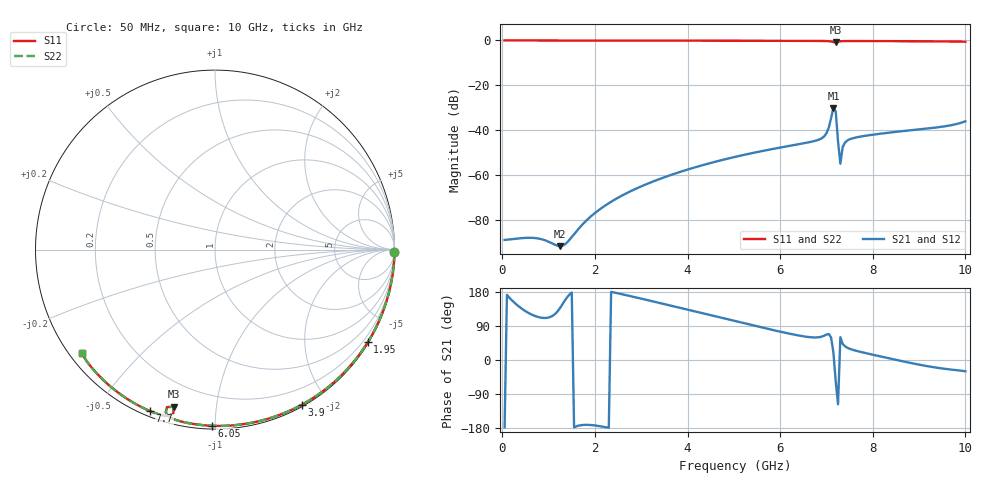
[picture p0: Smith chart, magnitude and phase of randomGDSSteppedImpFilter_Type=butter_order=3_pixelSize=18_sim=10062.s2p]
! freq	dB(S11)	phase(S11)	dB(S12)	phase(S12)
!  dB(S21)	phase(S21)	dB(S22)	phase(S22)
!S-par simulation data
#  GHz  S  DB  R 50
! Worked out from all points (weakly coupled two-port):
!   200 points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, 50 MHz to 10 GHz, reference 50 ohm
!   highest |S21| = -30.06 dB at 7.15 GHz (marker M1); lowest = -91.8 dB at 1.25 GHz (marker M2)
!   lowest |S11| = -0.9 dB at 7.2 GHz (marker M3), VSWR 20.08, Z = 3.96 - j38.4 ohm
!   |S11| at or under -10 dB: nowhere
!   |S22| runs from -0.9 to 0.0 dB; largest |S21 - S12| = 0
!   S11 on the Smith chart (normalised r, x): 50 MHz: open; 1.95 GHz: 0.03, -3.57; 3.9 GHz: 0.02, -1.70; 6.05 GHz: 0.02, -0.98; 7.7 GHz: 0.02, -0.68; 10 GHz: 0.04, -0.34
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0.05  -0.00 -0.8  -88.97 -177.8  -88.97 -177.8  -0.00 -0.8
1.25  -0.02 -20.2  -91.75 137.7  -91.75 137.7  -0.02 -20.2
1.75  -0.04 -28.1  -81.67 -171.3  -81.67 -171.3  -0.04 -28.1
1.95  -0.04 -31.3  -77.83 -172.0  -77.83 -172.0  -0.04 -31.3
2.55  -0.05 -40.6  -69.56 174.5  -69.56 174.5  -0.05 -40.6
3.4  -0.07 -53.5  -61.77 150.4  -61.77 150.4  -0.07 -53.5
3.9  -0.08 -60.9  -58.24 135.8  -58.24 135.8  -0.08 -60.9
5.05  -0.12 -77.4  -51.81 102.0  -51.81 102.0  -0.12 -77.3
6.05  -0.16 -91.1  -47.58 73.4  -47.58 73.4  -0.16 -91.1
6.7  -0.20 -100.0  -45.07 59.7  -45.07 59.7  -0.20 -100.0
6.9  -0.23 -103.0  -43.61 61.7  -43.61 61.7  -0.23 -103.0
7  -0.28 -104.8  -41.39 67.1  -41.39 67.1  -0.28 -104.8
7.05  -0.33 -105.8  -38.87 68.5  -38.87 68.5  -0.33 -105.8
7.15  -0.75 -107.0  -30.06 19.7  -30.06 19.7  -0.75 -106.9
7.2  -0.87 -104.8  -31.67 -56.6  -31.67 -56.6  -0.86 -104.8
7.25  -0.51 -104.3  -45.05 -116.8  -45.05 -116.8  -0.51 -104.3
7.3  -0.35 -105.4  -54.97 60.2  -54.97 60.2  -0.35 -105.4
7.35  -0.30 -106.5  -47.52 42.4  -47.52 42.4  -0.30 -106.5
7.4  -0.28 -107.4  -45.56 36.2  -45.56 36.2  -0.28 -107.4
7.7  -0.26 -111.9  -43.00 22.5  -43.00 22.5  -0.26 -111.9
8.35  -0.31 -120.3  -41.11 4.4  -41.11 4.4  -0.31 -120.3
10  -0.57 -142.1  -36.07 -29.8  -36.07 -29.8  -0.56 -142.0
